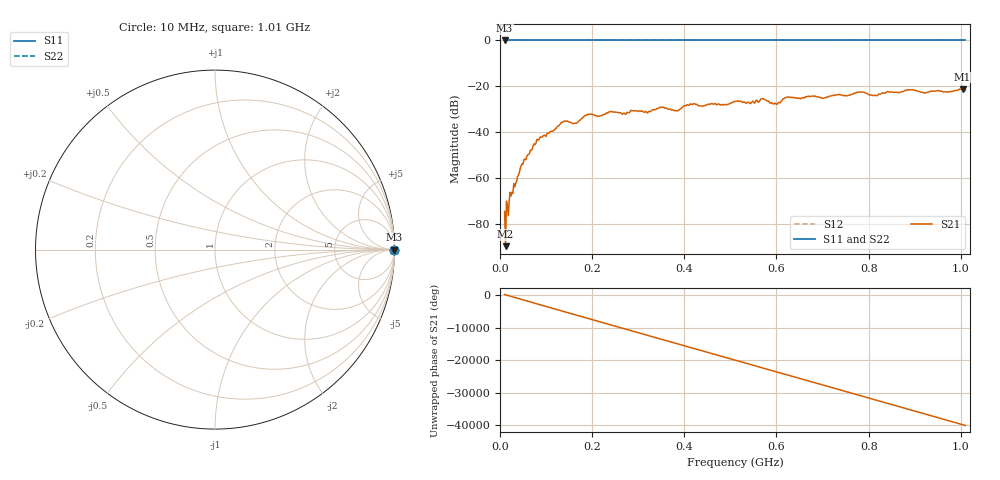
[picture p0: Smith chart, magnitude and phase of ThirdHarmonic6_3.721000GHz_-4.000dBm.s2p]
! 8/17/2025 12:41:31 PM
! C:\ANRITSUVNA\TEMP\TEMP.S2P
! CHANNEL.1
! TR.MEASUREMENT
! RAW.DATA
! RF.CORRECTION.OFF
! AVERAGING.OFF
! IF.BANDWIDTH: 5KHZ
! SWEEPTYPE:  FREQ.SWEEP(Linear)
! Reference Plane Port Info
! PORT:  PORT1  PORT2
! DISTANCE:  0  m  0  m
! TIME:  0  s  0  s
! PHASE.OFFSET:  0  deg.  0  deg.
! LOSS:  0  dB  0  dB
! REF.LOSS:  0  dB  0  dB
! REF.FREQ:  0  Hz  0  Hz
! Power Info
! POWER:  -20  dBm  -20  dBm
! EFF.POWER:  -20  dBm  -20  dBm
! SOURCE.ATTEN:  0  dB  0  dB
! TEST.ATTEN:  0  dB  0  dB
# GHZ S RI R 50.0
! FREQ.GHZ  S11RE  S11IM  S21RE  S21IM  S12RE  S12IM  S22RE  S22IM
!; PortSelection: Port_12
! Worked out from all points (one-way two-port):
!   501 points, 10 MHz to 1.01 GHz, reference 50 ohm
!   highest |S21| = -21.17 dB at 1.004 GHz (marker M1); lowest = -89.7 dB at 12 MHz (marker M2)
!   lowest |S11| = 0.0 dB at 10 MHz (marker M3)
!   |S11| at or under -10 dB: nowhere
!   |S22| runs from 0.0 to 0.0 dB; largest |S21 - S12| = 1.1
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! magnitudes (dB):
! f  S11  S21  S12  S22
! 10 MHz  0.0  -74.5  0.0  0.0
! 12 MHz  0.0  -89.7  0.0  0.0
! 16 MHz  0.0  -72.0  0.0  0.0
! 26 MHz  0.0  -66.2  0.0  0.0
! 48 MHz  0.0  -53.8  0.0  0.0
! 84 MHz  0.0  -43.5  0.0  0.0
! 136 MHz  0.0  -35.6  0.0  0.0
! 162 MHz  0.0  -36.0  0.0  0.0
! 178 MHz  0.0  -33.9  0.0  0.0
! 192 MHz  0.0  -32.1  0.0  0.0
! 322 MHz  0.0  -31.1  0.0  0.0
! 344 MHz  0.0  -29.6  0.0  0.0
! 382 MHz  0.0  -30.6  0.0  0.0
! 418 MHz  0.0  -27.9  0.0  0.0
! 510 MHz  0.0  -26.6  0.0  0.0
! 570 MHz  0.0  -25.4  0.0  0.0
! 598 MHz  0.0  -27.4  0.0  0.0
! 624 MHz  0.0  -24.8  0.0  0.0
! 678 MHz  0.0  -24.2  0.0  0.0
! 844 MHz  0.0  -22.4  0.0  0.0
! 1.004 GHz  0.0  -21.2  0.0  0.0
! 1.01 GHz  0.0  -21.8  0.0  0.0
